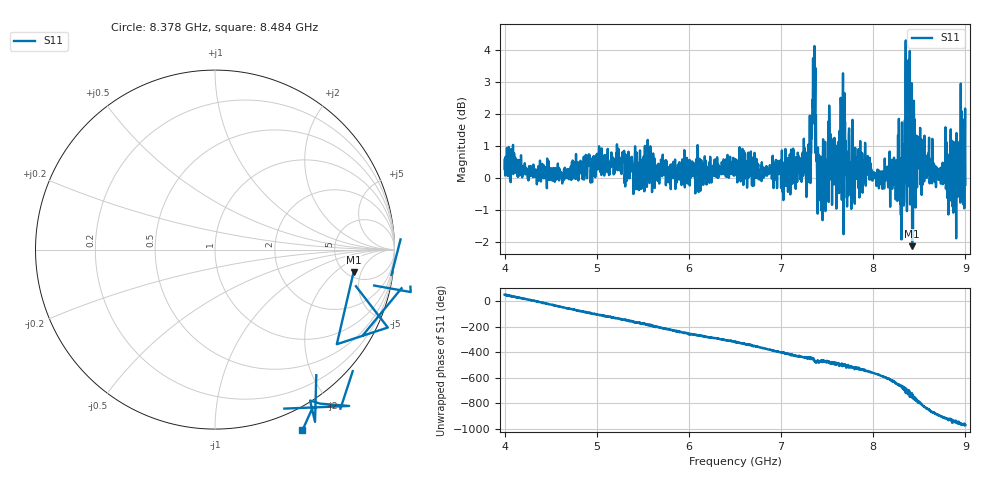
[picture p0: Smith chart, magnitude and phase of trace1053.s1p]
! Created with skrf 1.8.0 (http://scikit-rf.org).
# Hz S RI R 50.0
!freq ReS11 ImS11
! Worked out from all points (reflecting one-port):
!   1601 points, 4 GHz to 9 GHz, reference 50 ohm
!   lowest |S11| = -2.1 dB at 8.422 GHz (marker M1), VSWR 8.19, Z = 289 - j185 ohm
!   phase of S11 starts at 52 deg and turns -1024 deg over the sweep
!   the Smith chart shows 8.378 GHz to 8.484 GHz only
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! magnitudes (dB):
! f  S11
! 4 GHz  0.3
! 4.625 GHz  -0.2
! 5.25 GHz  0.2
! 5.875 GHz  0.0
! 6.5 GHz  0.4
! 7.125 GHz  0.2
! 7.294 GHz  -0.1
! 7.353 GHz  1.7
! 7.366 GHz  1.8
! 7.4 GHz  1.0
! 7.428 GHz  0.7
! 7.525 GHz  1.7
! 7.616 GHz  0.6
! 7.647 GHz  2.5
! 7.688 GHz  2.7
! 7.7 GHz  1.2
! 7.75 GHz  0.0
! 8.097 GHz  0.2
! 8.259 GHz  0.3
! 8.312 GHz  1.7
! 8.334 GHz  -0.7
! 8.375 GHz  3.2
! 8.394 GHz  2.0
! 8.412 GHz  -0.4
! 8.422 GHz  -2.1
! 8.875 GHz  0.7
! 8.972 GHz  0.3
! 9 GHz  -0.2
